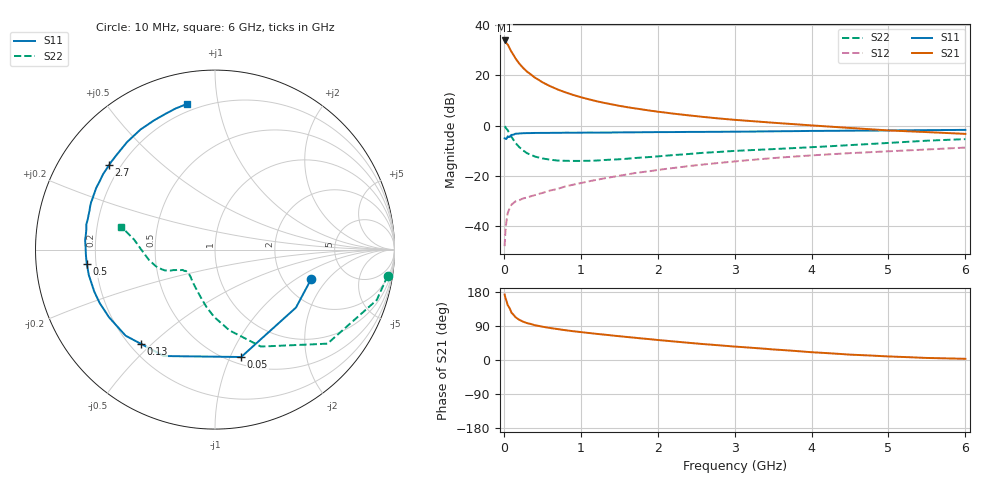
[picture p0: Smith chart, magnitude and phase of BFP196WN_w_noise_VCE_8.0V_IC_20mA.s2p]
! Infineon Technologies  Discrete & RF Semiconductors
! BFP196WN
! VCE =  8.0 V,  IC =  20 mA
! Common Emitter S-Parameters:  Jan 2017
# GHz  S  MA  R  50
!  f  S11  S21  S12  S22
! GHz  MAG  ANG  MAG  ANG  MAG  ANG  MAG  ANG
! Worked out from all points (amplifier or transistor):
!   77 points, 10 MHz to 6 GHz, reference 50 ohm
!   highest |S21| = 33.9 dB at 10 MHz (marker M1)
!   |S21| within 3 dB of that: start of sweep to 73.44 MHz
!   unconditionally stable (mu >= 1): 937.4 MHz to 2.641 GHz
!   at 130 MHz: K = 0.31, MSG = 29.3 dB, |S12| = -30.7 dB
!   at 2.2 GHz: K = 1.03, MAG = 9.8 dB, |S12| = -16.9 dB
!   at 6 GHz: K = 0.87, MSG = 2.7 dB, |S12| = -8.7 dB
!   lowest NFmin = 0.96 dB at 450 MHz
!   S11 on the Smith chart (normalised r, x): 10 MHz: 2.81, -1.36; 50 MHz: 0.57, -1.10; 130 MHz: 0.24, -0.46; 500 MHz: 0.16, -0.05; 2.7 GHz: 0.16, +0.34; 6 GHz: 0.16, +0.81
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0.01  0.5599 -17.3  49.74 172.8  0.004 81.9  0.9731 -8.6
0.02  0.5548 -35.6  47.19 164.4  0.0076 76.6  0.944 -17.3
0.05  0.616 -76.3  41.31 144.9  0.0183 60.4  0.8168 -39.9
0.1  0.658 -115.7  29.44 124.5  0.0268 48.1  0.5973 -64.7
0.13  0.6679 -128.2  24.9 118.5  0.0293 43.7  0.5085 -72.8
0.15  0.6915 -136.1  22.07 113.2  0.0311 41.1  0.4568 -79.9
0.2  0.7005 -147.4  17.29 106.1  0.0329 41.1  0.3747 -90.8
0.25  0.7083 -155.2  14.16 101.1  0.0356 40.5  0.3224 -98.6
0.3  0.7122 -160.8  11.97 97.5  0.0372 41.6  0.2843 -105.2
0.4  0.7172 -168.5  9.123 91.9  0.0414 44.8  0.2447 -114.9
0.5  0.719 -173.6  7.336 87.9  0.0458 47.7  0.2232 -122.8
0.6  0.72 -177.8  6.138 84.5  0.0511 50.9  0.2106 -128.5
0.7  0.7211 179.0  5.26 81.6  0.0553 53.2  0.2024 -132.6
0.9  0.7244 173.2  4.099 76.0  0.0669 57.1  0.1994 -138.4
1.1  0.7306 168.9  3.366 71.4  0.0778 59.3  0.2002 -142.7
1.5  0.7355 161.2  2.488 62.8  0.1009 61.6  0.2146 -148.2
2.1  0.746 150.9  1.822 51.0  0.1376 61.1  0.2524 -153.1
2.7  0.755 141.4  1.441 40.4  0.1755 59.1  0.295 -156.9
3.1  0.7617 135.3  1.275 34.1  0.2008 56.6  0.3204 -160.5
4.1  0.7882 120.5  0.991 19.4  0.2618 49.8  0.3801 -173.2
5.1  0.8068 109.2  0.793 8.6  0.3146 42.4  0.4634 172.1
6  0.826 101.0  0.687 3.1  0.3668 36.2  0.5408 166.4
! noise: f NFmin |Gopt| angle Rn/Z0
0.45  0.96  0.4  169  0.05
0.9  1.1  0.5  179  0.05
1.9  2.1  0.69  210  0.12
2.4  2.86  0.7  216  0.23
